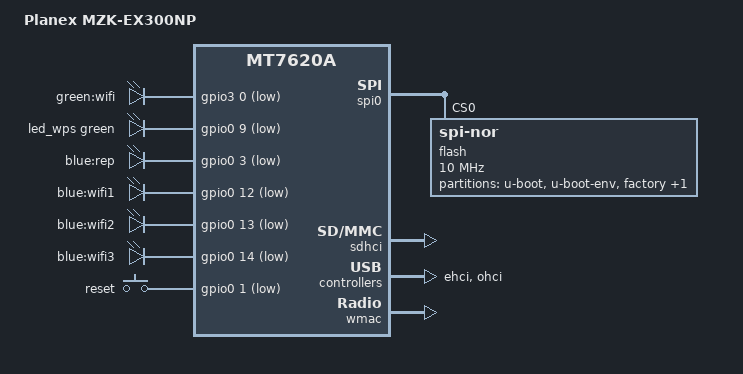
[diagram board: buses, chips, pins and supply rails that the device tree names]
#include "mt7620a.dtsi"

#include <dt-bindings/gpio/gpio.h>
#include <dt-bindings/input/input.h>
#include <dt-bindings/leds/common.h>

/ {
	compatible = "planex,mzk-ex300np", "ralink,mt7620a-soc";
	model = "Planex MZK-EX300NP";

	aliases {
		led-boot = &led_wps;
		led-failsafe = &led_wps;
		led-running = &led_wps;
		led-upgrade = &led_wps;
	};

	leds {
		compatible = "gpio-leds";

		wifi {
			label = "green:wifi";
			gpios = <&gpio3 0 GPIO_ACTIVE_LOW>;
		};

		led_wps: wps {
			function = LED_FUNCTION_WPS;
			color = <LED_COLOR_ID_GREEN>;
			gpios = <&gpio0 9 GPIO_ACTIVE_LOW>;
		};

		rep {
			label = "blue:rep";
			gpios = <&gpio0 3 GPIO_ACTIVE_LOW>;
		};

		wifi1 {
			label = "blue:wifi1";
			gpios = <&gpio0 12 GPIO_ACTIVE_LOW>;
		};

		wifi2 {
			label = "blue:wifi2";
			gpios = <&gpio0 13 GPIO_ACTIVE_LOW>;
		};

		wifi3 {
			label = "blue:wifi3";
			gpios = <&gpio0 14 GPIO_ACTIVE_LOW>;
		};
	};

	keys {
		compatible = "gpio-keys";

		reset {
			label = "reset";
			gpios = <&gpio0 1 GPIO_ACTIVE_LOW>;
			linux,code = <KEY_RESTART>;
		};
	};
};

&gpio1 {
	status = "okay";
};

&gpio3 {
	status = "okay";
};

&spi0 {
	status = "okay";

	flash@0 {
		compatible = "jedec,spi-nor";
		reg = <0>;
		spi-max-frequency = <10000000>;

		partitions {
			compatible = "fixed-partitions";
			#address-cells = <1>;
			#size-cells = <1>;

			partition@0 {
				label = "u-boot";
				reg = <0x0 0x30000>;
				read-only;
			};

			partition@30000 {
				label = "u-boot-env";
				reg = <0x30000 0x10000>;
				read-only;
			};

			factory: partition@40000 {
				label = "factory";
				reg = <0x40000 0x10000>;
				read-only;
			};

			partition@50000 {
				compatible = "denx,uimage";
				label = "firmware";
				reg = <0x50000 0x7b0000>;
			};
		};
	};
};

&state_default {
	gpio {
		groups = "i2c", "spi refclk", "rgmii1", "wled";
		function = "gpio";
	};
};

&ethernet {
	pinctrl-names = "default";
	pinctrl-0 = <&ephy_pins>;

	mtd-mac-address = <&factory 0x4>;

	mediatek,portmap = "llllw";
};

&sdhci {
	status = "okay";
};

&ehci {
	status = "okay";
};

&ohci {
	status = "okay";
};

&wmac {
	ralink,mtd-eeprom = <&factory 0x0>;
};
